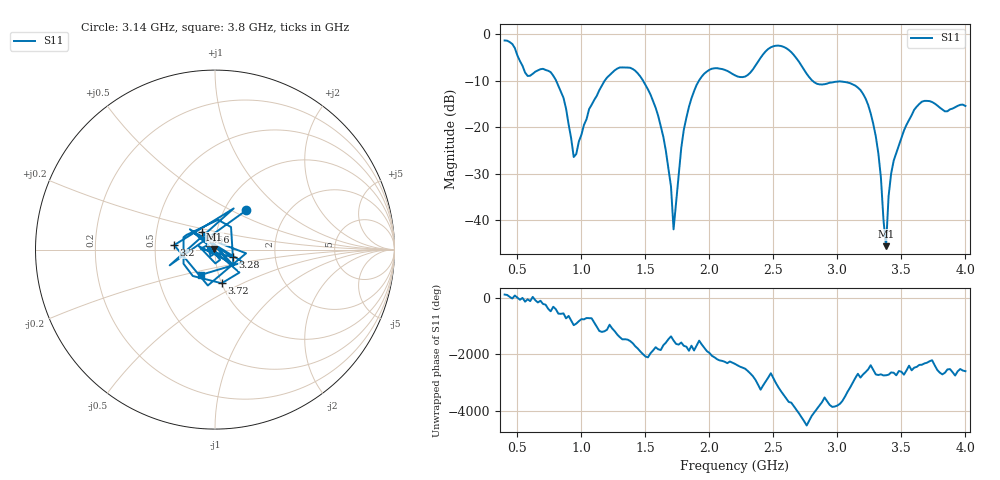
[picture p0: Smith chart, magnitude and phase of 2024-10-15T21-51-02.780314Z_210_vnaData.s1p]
! Created with skrf (http://scikit-rf.org).
# Hz S RI R 50.0
!freq ReS11 ImS11
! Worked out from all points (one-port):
!   181 points, 400 MHz to 4 GHz, reference 50 ohm
!   lowest |S11| = -45.6 dB at 3.38 GHz (marker M1), VSWR 1.01, Z = 49.6 + j0.281 ohm
!   |S11| at or under -10 dB: 803 MHz to 1.181 GHz (378.3 MHz wide, 38.1 % of centre); 1.482 GHz to 1.918 GHz (435.5 MHz wide, 25.6 % of centre); 2.806 GHz to end of sweep
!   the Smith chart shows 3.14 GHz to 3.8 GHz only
!   S11 on the Smith chart (normalised r, x): 3.14 GHz: 1.26, +0.60; 3.2 GHz: 0.63, +0.03; 3.28 GHz: 1.22, -0.11; 3.56 GHz: 0.85, +0.17; 3.72 GHz: 1.00, -0.39; 3.8 GHz: 0.82, -0.24
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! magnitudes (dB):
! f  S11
! 400 MHz  -1.3
! 860 MHz  -13.7
! 940 MHz  -26.4
! 1.06 GHz  -16.1
! 1.3 GHz  -7.1
! 1.44 GHz  -8.4
! 1.58 GHz  -15.8
! 1.66 GHz  -25.1
! 1.7 GHz  -32.8
! 1.72 GHz  -42.0
! 1.76 GHz  -30.1
! 1.82 GHz  -18.0
! 1.92 GHz  -9.9
! 2.2 GHz  -8.8
! 2.5 GHz  -2.5
! 2.66 GHz  -4.5
! 2.84 GHz  -10.6
! 3.1 GHz  -10.5
! 3.14 GHz  -11.0
! 3.2 GHz  -12.8
! 3.28 GHz  -19.3
! 3.34 GHz  -30.9
! 3.38 GHz  -45.6
! 3.42 GHz  -30.0
! 3.56 GHz  -18.4
! 3.72 GHz  -14.4
! 3.8 GHz  -15.8
! 4 GHz  -15.4
